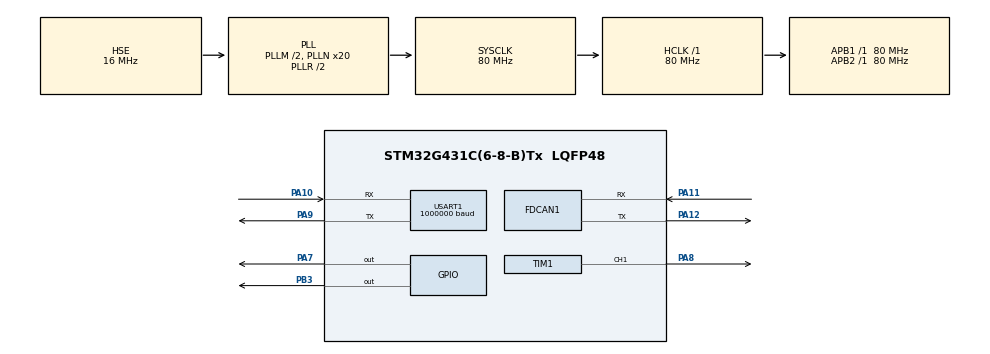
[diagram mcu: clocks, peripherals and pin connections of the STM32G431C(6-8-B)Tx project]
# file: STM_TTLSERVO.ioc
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Dma.Request0=USART1_RX
Dma.Request1=USART1_TX
Dma.Request2=TIM1_CH1
Dma.TIM1_CH1.2.Direction=DMA_MEMORY_TO_PERIPH
Dma.TIM1_CH1.2.EventEnable=DISABLE
Dma.TIM1_CH1.2.Instance=DMA1_Channel3
Dma.TIM1_CH1.2.MemDataAlignment=DMA_MDATAALIGN_HALFWORD
Dma.TIM1_CH1.2.MemInc=DMA_MINC_ENABLE
Dma.TIM1_CH1.2.Mode=DMA_NORMAL
Dma.TIM1_CH1.2.PeriphDataAlignment=DMA_PDATAALIGN_HALFWORD
Dma.TIM1_CH1.2.PeriphInc=DMA_PINC_DISABLE
Dma.TIM1_CH1.2.Polarity=HAL_DMAMUX_REQ_GEN_RISING
Dma.TIM1_CH1.2.Priority=DMA_PRIORITY_LOW
Dma.TIM1_CH1.2.RequestNumber=1
Dma.TIM1_CH1.2.SignalID=NONE
Dma.TIM1_CH1.2.SyncEnable=DISABLE
Dma.TIM1_CH1.2.SyncPolarity=HAL_DMAMUX_SYNC_NO_EVENT
Dma.TIM1_CH1.2.SyncRequestNumber=1
Dma.TIM1_CH1.2.SyncSignalID=NONE
Dma.USART1_RX.0.Direction=DMA_PERIPH_TO_MEMORY
Dma.USART1_RX.0.EventEnable=DISABLE
Dma.USART1_RX.0.Instance=DMA1_Channel1
Dma.USART1_RX.0.MemDataAlignment=DMA_MDATAALIGN_BYTE
Dma.USART1_RX.0.MemInc=DMA_MINC_ENABLE
Dma.USART1_RX.0.Mode=DMA_NORMAL
Dma.USART1_RX.0.PeriphDataAlignment=DMA_PDATAALIGN_BYTE
Dma.USART1_RX.0.PeriphInc=DMA_PINC_DISABLE
Dma.USART1_RX.0.Polarity=HAL_DMAMUX_REQ_GEN_RISING
Dma.USART1_RX.0.Priority=DMA_PRIORITY_LOW
Dma.USART1_RX.0.RequestNumber=1
Dma.USART1_RX.0.SignalID=NONE
Dma.USART1_RX.0.SyncEnable=DISABLE
Dma.USART1_RX.0.SyncPolarity=HAL_DMAMUX_SYNC_NO_EVENT
Dma.USART1_RX.0.SyncRequestNumber=1
Dma.USART1_RX.0.SyncSignalID=NONE
Dma.USART1_TX.1.Direction=DMA_MEMORY_TO_PERIPH
Dma.USART1_TX.1.EventEnable=DISABLE
Dma.USART1_TX.1.Instance=DMA1_Channel2
Dma.USART1_TX.1.MemDataAlignment=DMA_MDATAALIGN_BYTE
Dma.USART1_TX.1.MemInc=DMA_MINC_ENABLE
Dma.USART1_TX.1.Mode=DMA_NORMAL
Dma.USART1_TX.1.PeriphDataAlignment=DMA_PDATAALIGN_BYTE
Dma.USART1_TX.1.PeriphInc=DMA_PINC_DISABLE
Dma.USART1_TX.1.Polarity=HAL_DMAMUX_REQ_GEN_RISING
Dma.USART1_TX.1.Priority=DMA_PRIORITY_LOW
Dma.USART1_TX.1.RequestNumber=1
Dma.USART1_TX.1.SignalID=NONE
Dma.USART1_TX.1.SyncEnable=DISABLE
Dma.USART1_TX.1.SyncPolarity=HAL_DMAMUX_SYNC_NO_EVENT
Dma.USART1_TX.1.SyncRequestNumber=1
Dma.USART1_TX.1.SyncSignalID=NONE
FDCAN1.AutoRetransmission=ENABLE
FDCAN1.CalculateBaudRateNominal=1000000
FDCAN1.CalculateTimeBitNominal=1000
FDCAN1.CalculateTimeQuantumNominal=62.5
FDCAN1.DataTimeSeg1=1
FDCAN1.DataTimeSeg2=1
FDCAN1.NominalPrescaler=1
FDCAN1.NominalTimeSeg1=13
FDCAN1.NominalTimeSeg2=2
FDCAN1.StdFiltersNbr=1
Mcu.Family=STM32G4
Mcu.Name=STM32G431C(6-8-B)Tx
Mcu.Package=LQFP48
NVIC.DMA1_Channel1_IRQn=true\:0\:0\:false\:false\:true\:false\:true\:true
NVIC.DMA1_Channel2_IRQn=true\:0\:0\:false\:false\:true\:false\:true\:true
NVIC.DMA1_Channel3_IRQn=true\:0\:0\:false\:false\:true\:false\:true\:true
NVIC.FDCAN1_IT0_IRQn=true\:5\:0\:false\:false\:true\:false\:true\:true
NVIC.PriorityGroup=NVIC_PRIORITYGROUP_4
PA10.Mode=Asynchronous
PA10.Signal=USART1_RX
PA11.Mode=FDCAN_Activate
PA11.Signal=FDCAN1_RX
PA12.Mode=FDCAN_Activate
PA12.Signal=FDCAN1_TX
PA7.Signal=GPIO_Output
PA8.Signal=S_TIM1_CH1
PA9.Mode=Asynchronous
PA9.Signal=USART1_TX
PB3.Signal=GPIO_Output
PF0-OSC_IN.Mode=HSE-External-Oscillator
PF0-OSC_IN.Signal=RCC_OSC_IN
PF1-OSC_OUT.Mode=HSE-External-Oscillator
PF1-OSC_OUT.Signal=RCC_OSC_OUT
ProjectManager.HeapSize=0x200
ProjectManager.StackSize=0x400
ProjectManager.TargetToolchain=CMake
RCC.ADC12Freq_Value=80000000
RCC.AHBFreq_Value=80000000
RCC.APB1Freq_Value=80000000
RCC.APB1TimFreq_Value=80000000
RCC.APB2Freq_Value=80000000
RCC.APB2TimFreq_Value=80000000
RCC.CortexFreq_Value=80000000
RCC.EXTERNAL_CLOCK_VALUE=12288000
RCC.FDCANCLockSelection=RCC_FDCANCLKSOURCE_HSE
RCC.HCLKFreq_Value=80000000
RCC.HSE_VALUE=16000000
RCC.HSI48_VALUE=48000000
RCC.HSI_VALUE=16000000
RCC.LSE_VALUE=32768
RCC.PLLM=RCC_PLLM_DIV2
RCC.PLLN=20
RCC.PLLSourceVirtual=RCC_PLLSOURCE_HSE
RCC.SYSCLKFreq_VALUE=80000000
RCC.SYSCLKSource=RCC_SYSCLKSOURCE_PLLCLK
RCC.USBFreq_Value=80000000
RCC.VCOOutputFreq_Value=160000000
SH.S_TIM1_CH1.0=TIM1_CH1,PWM Generation1 CH1
TIM1.AutoReloadPreload=TIM_AUTORELOAD_PRELOAD_ENABLE
TIM1.Channel-PWM\ Generation1\ CH1=TIM_CHANNEL_1
TIM1.PeriodNoDither=99
USART1.BaudRate=1000000
USART1.VirtualMode-Asynchronous=VM_ASYNC
VP_SYS_VS_DBSignals.Mode=DisableDeadBatterySignals
board=custom

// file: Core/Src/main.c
/* USER CODE BEGIN Header */
/**
  ******************************************************************************
  * @file           : main.c
  * @brief          : Main program body
  ******************************************************************************
  * @attention
  *
  * Copyright (c) 2026 STMicroelectronics.
  * All rights reserved.
  *
  * This software is licensed under terms that can be found in the LICENSE file
  * in the root directory of this software component.
  * If no LICENSE file comes with this software, it is provided AS-IS.
  *
  ******************************************************************************
  */
/* USER CODE END Header */
#include "main.h"

/* USER CODE BEGIN Includes */
#include "feetech_sts.h"
#include "can_protocol.h"
#include "ws2812.h"
/* USER CODE END Includes */

/* USER CODE BEGIN PD */
#define SERVO_ID             1u
/* USER CODE END PD */

FDCAN_HandleTypeDef hfdcan1;

TIM_HandleTypeDef htim1;
DMA_HandleTypeDef hdma_tim1_ch1;

UART_HandleTypeDef huart1;
DMA_HandleTypeDef hdma_usart1_rx;
DMA_HandleTypeDef hdma_usart1_tx;

void SystemClock_Config(void);
static void MX_GPIO_Init(void);
static void MX_DMA_Init(void);
static void MX_FDCAN1_Init(void);
static void MX_TIM1_Init(void);
static void MX_USART1_UART_Init(void);

int main(void)
{

  /* MCU Configuration--------------------------------------------------------*/

  /* Reset of all peripherals, Initializes the Flash interface and the Systick. */
  HAL_Init();

  /* Configure the system clock */
  SystemClock_Config();

  /* Initialize all configured peripherals */
  MX_GPIO_Init();
  MX_DMA_Init();
  MX_FDCAN1_Init();
  MX_TIM1_Init();
  MX_USART1_UART_Init();
  /* USER CODE BEGIN 2 */
  WS2812_Init();
  STS_Init(&huart1, GPIOA, GPIO_PIN_7);
  /* Servo was previously switched to PWM mode (EEPROM-persisted) during
   * testing - explicitly switch back to position mode. */
  STS_SetMode(SERVO_ID, STS_MODE_POSITION);
  STS_TorqueEnable(SERVO_ID, 1u);
  /* Earlier testing left the servo's RAM Torque_Limit at 1% (addr 48);
   * that persists across MCU resets as long as the servo itself stays
   * powered, so restore full torque explicitly rather than assuming the
   * EEPROM default (1000 = 100%) is still in effect. */
  STS_SetTorqueLimit(SERVO_ID, 1000u);

  /* Sets up the RX filter/IRQ for CAN_NODE_ID and starts FDCAN1. Must come
   * after the STS_* calls above so it can read the servo's present
   * position to seed the OPEN/CLOSE-relative target. */
  CAN_Init(&hfdcan1, SERVO_ID);
  /* USER CODE END 2 */

  /* Infinite loop */
  /* USER CODE BEGIN WHILE */
  uint32_t last_blink_tick = HAL_GetTick();
  while (1)
  {
    /* USER CODE END WHILE */

    /* USER CODE BEGIN 3 */
    /* Drains commands queued by the FDCAN ISR and drives the servo over
     * USART1 - never blocks on CAN traffic, so this runs every iteration. */
    CAN_Process();

    /* Non-blocking heartbeat (LED D4 / PB3) - HAL_Delay would stall
     * CAN_Process() above, so poll the tick count instead. */
    if ((HAL_GetTick() - last_blink_tick) >= 500u) {
        HAL_GPIO_TogglePin(GPIOB, GPIO_PIN_3);
        last_blink_tick = HAL_GetTick();
    }
  }
  /* USER CODE END 3 */
}

void SystemClock_Config(void)
{
  RCC_OscInitTypeDef RCC_OscInitStruct = {0};
  RCC_ClkInitTypeDef RCC_ClkInitStruct = {0};

  /** Configure the main internal regulator output voltage
  */
  HAL_PWREx_ControlVoltageScaling(PWR_REGULATOR_VOLTAGE_SCALE1);

  /** Initializes the RCC Oscillators according to the specified parameters
  * in the RCC_OscInitTypeDef structure.
  */
  RCC_OscInitStruct.OscillatorType = RCC_OSCILLATORTYPE_HSE;
  RCC_OscInitStruct.HSEState = RCC_HSE_ON;
  RCC_OscInitStruct.PLL.PLLState = RCC_PLL_ON;
  RCC_OscInitStruct.PLL.PLLSource = RCC_PLLSOURCE_HSE;
  RCC_OscInitStruct.PLL.PLLM = RCC_PLLM_DIV2;
  RCC_OscInitStruct.PLL.PLLN = 20;
  RCC_OscInitStruct.PLL.PLLP = RCC_PLLP_DIV2;
  RCC_OscInitStruct.PLL.PLLQ = RCC_PLLQ_DIV2;
  RCC_OscInitStruct.PLL.PLLR = RCC_PLLR_DIV2;
  if (HAL_RCC_OscConfig(&RCC_OscInitStruct) != HAL_OK)
  {
    Error_Handler();
  }

  /** Initializes the CPU, AHB and APB buses clocks
  */
  RCC_ClkInitStruct.ClockType = RCC_CLOCKTYPE_HCLK|RCC_CLOCKTYPE_SYSCLK
                              |RCC_CLOCKTYPE_PCLK1|RCC_CLOCKTYPE_PCLK2;
  RCC_ClkInitStruct.SYSCLKSource = RCC_SYSCLKSOURCE_PLLCLK;
  RCC_ClkInitStruct.AHBCLKDivider = RCC_SYSCLK_DIV1;
  RCC_ClkInitStruct.APB1CLKDivider = RCC_HCLK_DIV1;
  RCC_ClkInitStruct.APB2CLKDivider = RCC_HCLK_DIV1;

  if (HAL_RCC_ClockConfig(&RCC_ClkInitStruct, FLASH_LATENCY_2) != HAL_OK)
  {
    Error_Handler();
  }
}

static void MX_FDCAN1_Init(void)
{

  hfdcan1.Instance = FDCAN1;
  hfdcan1.Init.ClockDivider = FDCAN_CLOCK_DIV1;
  hfdcan1.Init.FrameFormat = FDCAN_FRAME_CLASSIC;
  hfdcan1.Init.Mode = FDCAN_MODE_NORMAL;
  hfdcan1.Init.AutoRetransmission = ENABLE;
  hfdcan1.Init.TransmitPause = DISABLE;
  hfdcan1.Init.ProtocolException = DISABLE;
  hfdcan1.Init.NominalPrescaler = 1;
  hfdcan1.Init.NominalSyncJumpWidth = 1;
  hfdcan1.Init.NominalTimeSeg1 = 13;
  hfdcan1.Init.NominalTimeSeg2 = 2;
  hfdcan1.Init.DataPrescaler = 1;
  hfdcan1.Init.DataSyncJumpWidth = 1;
  hfdcan1.Init.DataTimeSeg1 = 1;
  hfdcan1.Init.DataTimeSeg2 = 1;
  hfdcan1.Init.StdFiltersNbr = 1;
  hfdcan1.Init.ExtFiltersNbr = 0;
  hfdcan1.Init.TxFifoQueueMode = FDCAN_TX_FIFO_OPERATION;
  if (HAL_FDCAN_Init(&hfdcan1) != HAL_OK)
  {
    Error_Handler();
  }

}

static void MX_TIM1_Init(void)
{

  TIM_MasterConfigTypeDef sMasterConfig = {0};
  TIM_OC_InitTypeDef sConfigOC = {0};
  TIM_BreakDeadTimeConfigTypeDef sBreakDeadTimeConfig = {0};

  htim1.Instance = TIM1;
  htim1.Init.Prescaler = 0;
  htim1.Init.CounterMode = TIM_COUNTERMODE_UP;
  htim1.Init.Period = 99;
  htim1.Init.ClockDivision = TIM_CLOCKDIVISION_DIV1;
  htim1.Init.RepetitionCounter = 0;
  htim1.Init.AutoReloadPreload = TIM_AUTORELOAD_PRELOAD_ENABLE;
  if (HAL_TIM_PWM_Init(&htim1) != HAL_OK)
  {
    Error_Handler();
  }
  sMasterConfig.MasterOutputTrigger = TIM_TRGO_RESET;
  sMasterConfig.MasterOutputTrigger2 = TIM_TRGO2_RESET;
  sMasterConfig.MasterSlaveMode = TIM_MASTERSLAVEMODE_DISABLE;
  if (HAL_TIMEx_MasterConfigSynchronization(&htim1, &sMasterConfig) != HAL_OK)
  {
    Error_Handler();
  }
  sConfigOC.OCMode = TIM_OCMODE_PWM1;
  sConfigOC.Pulse = 0;
  sConfigOC.OCPolarity = TIM_OCPOLARITY_HIGH;
  sConfigOC.OCNPolarity = TIM_OCNPOLARITY_HIGH;
  sConfigOC.OCFastMode = TIM_OCFAST_DISABLE;
  sConfigOC.OCIdleState = TIM_OCIDLESTATE_RESET;
  sConfigOC.OCNIdleState = TIM_OCNIDLESTATE_RESET;
  if (HAL_TIM_PWM_ConfigChannel(&htim1, &sConfigOC, TIM_CHANNEL_1) != HAL_OK)
  {
    Error_Handler();
  }
  sBreakDeadTimeConfig.OffStateRunMode = TIM_OSSR_DISABLE;
  sBreakDeadTimeConfig.OffStateIDLEMode = TIM_OSSI_DISABLE;
  sBreakDeadTimeConfig.LockLevel = TIM_LOCKLEVEL_OFF;
  sBreakDeadTimeConfig.DeadTime = 0;
  sBreakDeadTimeConfig.BreakState = TIM_BREAK_DISABLE;
  sBreakDeadTimeConfig.BreakPolarity = TIM_BREAKPOLARITY_HIGH;
  sBreakDeadTimeConfig.BreakFilter = 0;
  sBreakDeadTimeConfig.BreakAFMode = TIM_BREAK_AFMODE_INPUT;
  sBreakDeadTimeConfig.Break2State = TIM_BREAK2_DISABLE;
  sBreakDeadTimeConfig.Break2Polarity = TIM_BREAK2POLARITY_HIGH;
  sBreakDeadTimeConfig.Break2Filter = 0;
  sBreakDeadTimeConfig.Break2AFMode = TIM_BREAK_AFMODE_INPUT;
  sBreakDeadTimeConfig.AutomaticOutput = TIM_AUTOMATICOUTPUT_DISABLE;
  if (HAL_TIMEx_ConfigBreakDeadTime(&htim1, &sBreakDeadTimeConfig) != HAL_OK)
  {
    Error_Handler();
  }
  HAL_TIM_MspPostInit(&htim1);

}

static void MX_USART1_UART_Init(void)
{

  huart1.Instance = USART1;
  huart1.Init.BaudRate = 1000000;
  huart1.Init.WordLength = UART_WORDLENGTH_8B;
  huart1.Init.StopBits = UART_STOPBITS_1;
  huart1.Init.Parity = UART_PARITY_NONE;
  huart1.Init.Mode = UART_MODE_TX_RX;
  huart1.Init.HwFlowCtl = UART_HWCONTROL_NONE;
  huart1.Init.OverSampling = UART_OVERSAMPLING_16;
  huart1.Init.OneBitSampling = UART_ONE_BIT_SAMPLE_DISABLE;
  huart1.Init.ClockPrescaler = UART_PRESCALER_DIV1;
  huart1.AdvancedInit.AdvFeatureInit = UART_ADVFEATURE_NO_INIT;
  if (HAL_UART_Init(&huart1) != HAL_OK)
  {
    Error_Handler();
  }
  if (HAL_UARTEx_SetTxFifoThreshold(&huart1, UART_TXFIFO_THRESHOLD_1_8) != HAL_OK)
  {
    Error_Handler();
  }
  if (HAL_UARTEx_SetRxFifoThreshold(&huart1, UART_RXFIFO_THRESHOLD_1_8) != HAL_OK)
  {
    Error_Handler();
  }
  if (HAL_UARTEx_DisableFifoMode(&huart1) != HAL_OK)
  {
    Error_Handler();
  }

}

static void MX_DMA_Init(void)
{

  /* DMA controller clock enable */
  __HAL_RCC_DMAMUX1_CLK_ENABLE();
  __HAL_RCC_DMA1_CLK_ENABLE();

  /* DMA interrupt init */
  /* DMA1_Channel1_IRQn interrupt configuration */
  HAL_NVIC_SetPriority(DMA1_Channel1_IRQn, 0, 0);
  HAL_NVIC_EnableIRQ(DMA1_Channel1_IRQn);
  /* DMA1_Channel2_IRQn interrupt configuration */
  HAL_NVIC_SetPriority(DMA1_Channel2_IRQn, 0, 0);
  HAL_NVIC_EnableIRQ(DMA1_Channel2_IRQn);
  /* DMA1_Channel3_IRQn interrupt configuration */
  HAL_NVIC_SetPriority(DMA1_Channel3_IRQn, 0, 0);
  HAL_NVIC_EnableIRQ(DMA1_Channel3_IRQn);

}

static void MX_GPIO_Init(void)
{
  GPIO_InitTypeDef GPIO_InitStruct = {0};

  /* GPIO Ports Clock Enable */
  __HAL_RCC_GPIOF_CLK_ENABLE();
  __HAL_RCC_GPIOA_CLK_ENABLE();
  __HAL_RCC_GPIOB_CLK_ENABLE();

  /*Configure GPIO pin Output Level */
  HAL_GPIO_WritePin(GPIOA, GPIO_PIN_7, GPIO_PIN_RESET);

  /*Configure GPIO pin Output Level */
  HAL_GPIO_WritePin(GPIOB, GPIO_PIN_3, GPIO_PIN_RESET);

  /*Configure GPIO pin : PA7 */
  GPIO_InitStruct.Pin = GPIO_PIN_7;
  GPIO_InitStruct.Mode = GPIO_MODE_OUTPUT_PP;
  GPIO_InitStruct.Pull = GPIO_NOPULL;
  GPIO_InitStruct.Speed = GPIO_SPEED_FREQ_LOW;
  HAL_GPIO_Init(GPIOA, &GPIO_InitStruct);

  /*Configure GPIO pin : PB3 */
  GPIO_InitStruct.Pin = GPIO_PIN_3;
  GPIO_InitStruct.Mode = GPIO_MODE_OUTPUT_PP;
  GPIO_InitStruct.Pull = GPIO_NOPULL;
  GPIO_InitStruct.Speed = GPIO_SPEED_FREQ_LOW;
  HAL_GPIO_Init(GPIOB, &GPIO_InitStruct);

}

void Error_Handler(void)
{
  __disable_irq();
  while (1)
  {
  }
}
